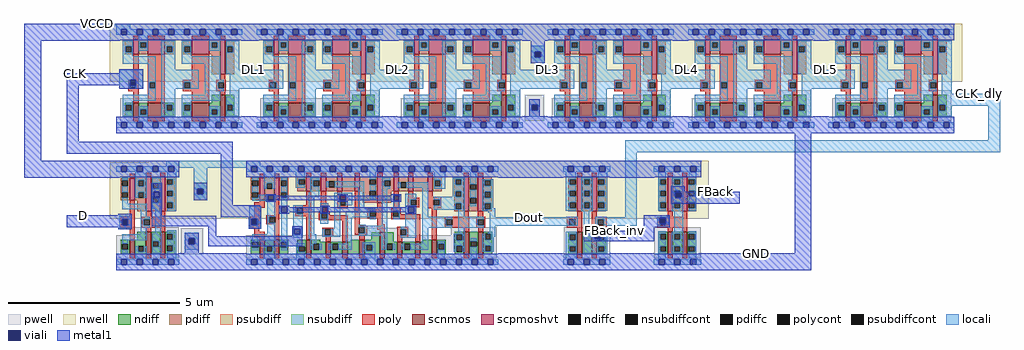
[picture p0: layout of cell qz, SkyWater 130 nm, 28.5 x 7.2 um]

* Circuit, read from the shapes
.subckt qz CLK CLK_dly D DL1 DL2 DL3 DL4 DL5 Dout FBack FBack_inv GND VCCD
XM1 GND D n1 GND sky130_fd_pr__nfet_01v8 w=0.42 l=0.15
XM2 GND CLK n2 GND sky130_fd_pr__nfet_01v8 w=0.42 l=0.15
XM3 sky130_fd_sc_hd__dfxtp_1_0/D n1 GND GND sky130_fd_pr__nfet_01v8 w=0.65 l=0.15 m=2
XM4 n3 n2 GND GND sky130_fd_pr__nfet_01v8 w=0.42 l=0.5
XM5 GND n3 n4 GND sky130_fd_pr__nfet_01v8 w=0.42 l=0.5
XM6 DL1 n4 GND GND sky130_fd_pr__nfet_01v8 w=0.65 l=0.15
XM7 GND CLK n5 GND sky130_fd_pr__nfet_01v8 w=0.42 l=0.15
XM8 GND DL1 n6 GND sky130_fd_pr__nfet_01v8 w=0.42 l=0.15
XM9 n7 n5 GND GND sky130_fd_pr__nfet_01v8 w=0.42 l=0.15
XM10 n8 n6 GND GND sky130_fd_pr__nfet_01v8 w=0.42 l=0.5
XM11 n9 sky130_fd_sc_hd__dfxtp_1_0/D GND GND sky130_fd_pr__nfet_01v8 w=0.42 l=0.15
XM12 n10 n5 n9 GND sky130_fd_pr__nfet_01v8 w=0.36 l=0.15
XM13 GND n8 n11 GND sky130_fd_pr__nfet_01v8 w=0.42 l=0.5
XM14 n12 n7 n10 GND sky130_fd_pr__nfet_01v8 w=0.36 l=0.15
XM15 GND n13 n12 GND sky130_fd_pr__nfet_01v8 w=0.42 l=0.15
XM16 DL2 n11 GND GND sky130_fd_pr__nfet_01v8 w=0.65 l=0.15
XM17 n13 n10 GND GND sky130_fd_pr__nfet_01v8 w=0.64 l=0.15
XM18 n14 n7 n13 GND sky130_fd_pr__nfet_01v8 w=0.36 l=0.15
XM19 GND DL2 n15 GND sky130_fd_pr__nfet_01v8 w=0.42 l=0.15
XM20 n16 n5 n14 GND sky130_fd_pr__nfet_01v8 w=0.36 l=0.15
XM21 n17 n15 GND GND sky130_fd_pr__nfet_01v8 w=0.42 l=0.5
XM22 GND n18 n16 GND sky130_fd_pr__nfet_01v8 w=0.42 l=0.15
XM23 GND n14 n18 GND sky130_fd_pr__nfet_01v8 w=0.65 l=0.15
XM24 GND n17 n19 GND sky130_fd_pr__nfet_01v8 w=0.42 l=0.5
XM25 Dout n18 GND GND sky130_fd_pr__nfet_01v8 w=0.65 l=0.15
XM26 DL3 n19 GND GND sky130_fd_pr__nfet_01v8 w=0.65 l=0.15
XM27 GND DL3 n20 GND sky130_fd_pr__nfet_01v8 w=0.42 l=0.15
XM28 n21 Dout GND GND sky130_fd_pr__nfet_01v8 w=0.65 l=0.15
XM29 n22 n20 GND GND sky130_fd_pr__nfet_01v8 w=0.42 l=0.5
XM30 FBack_inv CLK_dly n21 GND sky130_fd_pr__nfet_01v8 w=0.65 l=0.15
XM31 GND n22 n23 GND sky130_fd_pr__nfet_01v8 w=0.42 l=0.5
XM32 DL4 n23 GND GND sky130_fd_pr__nfet_01v8 w=0.65 l=0.15
XM33 FBack FBack_inv GND GND sky130_fd_pr__nfet_01v8 w=0.65 l=0.15 m=2
XM34 GND DL4 n24 GND sky130_fd_pr__nfet_01v8 w=0.42 l=0.15
XM35 n25 n24 GND GND sky130_fd_pr__nfet_01v8 w=0.42 l=0.5
XM36 GND n25 n26 GND sky130_fd_pr__nfet_01v8 w=0.42 l=0.5
XM37 DL5 n26 GND GND sky130_fd_pr__nfet_01v8 w=0.65 l=0.15
XM38 GND DL5 n27 GND sky130_fd_pr__nfet_01v8 w=0.42 l=0.15
XM39 n28 n27 GND GND sky130_fd_pr__nfet_01v8 w=0.42 l=0.5
XM40 GND n28 n29 GND sky130_fd_pr__nfet_01v8 w=0.42 l=0.5
XM41 CLK_dly n29 GND GND sky130_fd_pr__nfet_01v8 w=0.65 l=0.15
XM42 VCCD D n1 VCCD sky130_fd_pr__pfet_01v8_hvt w=0.64 l=0.15
XM43 VCCD CLK n2 VCCD sky130_fd_pr__pfet_01v8_hvt w=0.42 l=0.15
XM44 sky130_fd_sc_hd__dfxtp_1_0/D n1 VCCD VCCD sky130_fd_pr__pfet_01v8_hvt w=1 l=0.15 m=2
XM45 n3 n2 VCCD VCCD sky130_fd_pr__pfet_01v8_hvt w=0.42 l=0.5
XM46 VCCD n3 n4 VCCD sky130_fd_pr__pfet_01v8_hvt w=0.42 l=0.5
XM47 DL1 n4 VCCD VCCD sky130_fd_pr__pfet_01v8_hvt w=1 l=0.15
XM48 VCCD CLK n5 VCCD sky130_fd_pr__pfet_01v8_hvt w=0.64 l=0.15
XM49 VCCD DL1 n6 VCCD sky130_fd_pr__pfet_01v8_hvt w=0.42 l=0.15
XM50 n7 n5 VCCD VCCD sky130_fd_pr__pfet_01v8_hvt w=0.64 l=0.15
XM51 n8 n6 VCCD VCCD sky130_fd_pr__pfet_01v8_hvt w=0.42 l=0.5
XM52 n9 sky130_fd_sc_hd__dfxtp_1_0/D VCCD VCCD sky130_fd_pr__pfet_01v8_hvt w=0.42 l=0.15
XM53 n10 n7 n9 VCCD sky130_fd_pr__pfet_01v8_hvt w=0.42 l=0.15
XM54 VCCD n8 n11 VCCD sky130_fd_pr__pfet_01v8_hvt w=0.42 l=0.5
XM55 n30 n5 n10 VCCD sky130_fd_pr__pfet_01v8_hvt w=0.42 l=0.15
XM56 VCCD n13 n30 VCCD sky130_fd_pr__pfet_01v8_hvt w=0.42 l=0.15
XM57 DL2 n11 VCCD VCCD sky130_fd_pr__pfet_01v8_hvt w=1 l=0.15
XM58 n13 n10 VCCD VCCD sky130_fd_pr__pfet_01v8_hvt w=0.75 l=0.15
XM59 n14 n5 n13 VCCD sky130_fd_pr__pfet_01v8_hvt w=0.42 l=0.15
XM60 n31 n7 n14 VCCD sky130_fd_pr__pfet_01v8_hvt w=0.42 l=0.15
XM61 VCCD DL2 n15 VCCD sky130_fd_pr__pfet_01v8_hvt w=0.42 l=0.15
XM62 VCCD n18 n31 VCCD sky130_fd_pr__pfet_01v8_hvt w=0.42 l=0.15
XM63 n17 n15 VCCD VCCD sky130_fd_pr__pfet_01v8_hvt w=0.42 l=0.5
XM64 VCCD n14 n18 VCCD sky130_fd_pr__pfet_01v8_hvt w=1 l=0.15
XM65 VCCD n17 n19 VCCD sky130_fd_pr__pfet_01v8_hvt w=0.42 l=0.5
XM66 Dout n18 VCCD VCCD sky130_fd_pr__pfet_01v8_hvt w=1 l=0.15
XM67 DL3 n19 VCCD VCCD sky130_fd_pr__pfet_01v8_hvt w=1 l=0.15
XM68 VCCD DL3 n20 VCCD sky130_fd_pr__pfet_01v8_hvt w=0.42 l=0.15
XM69 FBack_inv Dout VCCD VCCD sky130_fd_pr__pfet_01v8_hvt w=1 l=0.15
XM70 n22 n20 VCCD VCCD sky130_fd_pr__pfet_01v8_hvt w=0.42 l=0.5
XM71 VCCD CLK_dly FBack_inv VCCD sky130_fd_pr__pfet_01v8_hvt w=1 l=0.15
XM72 VCCD n22 n23 VCCD sky130_fd_pr__pfet_01v8_hvt w=0.42 l=0.5
XM73 DL4 n23 VCCD VCCD sky130_fd_pr__pfet_01v8_hvt w=1 l=0.15
XM74 FBack FBack_inv VCCD VCCD sky130_fd_pr__pfet_01v8_hvt w=1 l=0.15 m=2
XM75 VCCD DL4 n24 VCCD sky130_fd_pr__pfet_01v8_hvt w=0.42 l=0.15
XM76 n25 n24 VCCD VCCD sky130_fd_pr__pfet_01v8_hvt w=0.42 l=0.5
XM77 VCCD n25 n26 VCCD sky130_fd_pr__pfet_01v8_hvt w=0.42 l=0.5
XM78 DL5 n26 VCCD VCCD sky130_fd_pr__pfet_01v8_hvt w=1 l=0.15
XM79 VCCD DL5 n27 VCCD sky130_fd_pr__pfet_01v8_hvt w=0.42 l=0.15
XM80 n28 n27 VCCD VCCD sky130_fd_pr__pfet_01v8_hvt w=0.42 l=0.5
XM81 VCCD n28 n29 VCCD sky130_fd_pr__pfet_01v8_hvt w=0.42 l=0.5
XM82 CLK_dly n29 VCCD VCCD sky130_fd_pr__pfet_01v8_hvt w=1 l=0.15
.ends

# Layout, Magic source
magic
tech sky130A
magscale 1 2
<< nwell >>
rect 730 650 5670 730
rect 690 390 5670 650
rect 920 -120 4190 -70
rect 690 -410 4190 -120
<< pwell >>
rect 3114 162 3228 314
rect 1104 -616 1236 -464
<< psubdiff >>
rect 3140 258 3202 288
rect 3140 224 3156 258
rect 3190 224 3202 258
rect 3140 188 3202 224
rect 1130 -523 1210 -490
rect 1130 -557 1153 -523
rect 1187 -557 1210 -523
rect 1130 -590 1210 -557
<< nsubdiff >>
rect 3150 567 3230 600
rect 3150 533 3173 567
rect 3207 533 3230 567
rect 3150 500 3230 533
rect 1180 -233 1260 -200
rect 1180 -267 1203 -233
rect 1237 -267 1260 -233
rect 1180 -300 1260 -267
<< psubdiffcont >>
rect 3156 224 3190 258
rect 1153 -557 1187 -523
<< nsubdiffcont >>
rect 3173 533 3207 567
rect 1203 -267 1237 -233
<< locali >>
rect 730 680 810 730
rect 3150 567 3230 600
rect 3150 533 3173 567
rect 3207 533 3230 567
rect 3150 500 3230 533
rect 1420 350 1650 460
rect 2260 350 2450 460
rect 3080 350 3290 460
rect 3960 350 4150 460
rect 4770 350 4920 460
rect 3140 258 3202 288
rect 3140 224 3156 258
rect 3190 224 3202 258
rect 5590 250 5890 320
rect 3140 188 3202 224
rect 5820 50 5890 250
rect 3700 -20 5890 50
rect 1020 -110 1570 -70
rect 1180 -233 1260 -110
rect 1180 -267 1203 -233
rect 1237 -267 1260 -233
rect 1180 -300 1260 -267
rect 3700 -400 3770 -20
rect 3990 -253 4030 -250
rect 3990 -287 3993 -253
rect 4027 -287 4030 -253
rect 3990 -290 4030 -287
rect 760 -413 800 -410
rect 760 -447 763 -413
rect 797 -447 800 -413
rect 760 -450 800 -447
rect 2930 -450 3420 -400
rect 3590 -450 3770 -400
rect 3900 -403 3940 -400
rect 3900 -437 3903 -403
rect 3937 -437 3940 -403
rect 3900 -440 3940 -437
rect 1130 -523 1210 -490
rect 3520 -493 3560 -490
rect 1130 -557 1153 -523
rect 1187 -557 1210 -523
rect 3520 -527 3523 -493
rect 3557 -527 3560 -493
rect 3520 -530 3560 -527
rect 1130 -590 1210 -557
<< viali >>
rect 3173 533 3207 567
rect 810 368 844 402
rect 3156 224 3190 258
rect 948 -286 982 -252
rect 1203 -267 1237 -233
rect 3993 -287 4027 -253
rect 763 -447 797 -413
rect 1516 -444 1550 -410
rect 3903 -437 3937 -403
rect 1768 -500 1802 -466
rect 1153 -557 1187 -523
rect 3523 -527 3557 -493
<< metal1 >>
rect 190 630 750 730
rect 1460 630 1560 730
rect 2280 630 2380 730
rect 3100 630 3250 730
rect 3980 630 4070 730
rect 4800 630 4890 730
rect 190 -70 290 630
rect 3150 567 3230 630
rect 3150 533 3173 567
rect 3207 533 3230 567
rect 3150 500 3230 533
rect 746 440 886 464
rect 440 402 886 440
rect 440 370 810 402
rect 440 40 510 370
rect 746 368 810 370
rect 844 368 886 402
rect 746 350 886 368
rect 3140 258 3202 288
rect 3140 224 3156 258
rect 3190 224 3202 258
rect 3140 190 3202 224
rect 1460 90 1550 190
rect 2280 90 2370 190
rect 3100 90 3250 190
rect 3980 90 4070 190
rect 440 -30 1410 40
rect 190 -170 750 -70
rect 934 -252 994 -202
rect 934 -286 948 -252
rect 982 -286 994 -252
rect 934 -372 994 -286
rect 1180 -233 1260 -200
rect 1180 -267 1203 -233
rect 1237 -267 1260 -233
rect 1180 -300 1260 -267
rect 740 -390 820 -380
rect 440 -413 820 -390
rect 440 -447 763 -413
rect 797 -447 820 -413
rect 440 -460 820 -447
rect 936 -392 994 -372
rect 1340 -330 1410 -30
rect 2960 -170 3340 -70
rect 3610 -170 3870 -70
rect 3970 -250 4050 -220
rect 3970 -253 4370 -250
rect 3970 -287 3993 -253
rect 4027 -287 4370 -253
rect 3970 -320 4370 -287
rect 1340 -338 1570 -330
rect 936 -452 1312 -392
rect 1340 -400 1572 -338
rect 740 -470 820 -460
rect 1130 -523 1210 -490
rect 1130 -557 1153 -523
rect 1187 -557 1210 -523
rect 1130 -610 1210 -557
rect 1266 -510 1312 -452
rect 1502 -410 1572 -400
rect 1502 -444 1516 -410
rect 1550 -444 1572 -410
rect 1502 -468 1572 -444
rect 3810 -403 3960 -390
rect 3810 -437 3903 -403
rect 3937 -437 3960 -403
rect 1758 -466 1814 -452
rect 1758 -500 1768 -466
rect 1802 -500 1814 -466
rect 3810 -460 3960 -437
rect 3810 -480 3870 -460
rect 1758 -510 1814 -500
rect 1266 -570 1814 -510
rect 3460 -493 3870 -480
rect 3460 -527 3523 -493
rect 3557 -527 3870 -493
rect 3460 -540 3870 -527
rect 4692 -610 4787 147
rect 4800 90 4890 190
rect 1090 -710 1490 -610
rect 2960 -710 3340 -610
rect 3610 -710 3870 -610
rect 4130 -615 4787 -610
rect 4093 -710 4787 -615
use sky130_fd_sc_hd__buf_2  sky130_fd_sc_hd__buf_2_0
transform 1 0 728 0 1 -662
box -38 -48 406 592
use sky130_fd_sc_hd__dfxtp_1  sky130_fd_sc_hd__dfxtp_1_0
transform 1 0 1488 0 1 -662
box -38 -48 1510 592
use sky130_fd_sc_hd__dlygate4sd3_1  sky130_fd_sc_hd__dlygate4sd3_1_0
transform 1 0 728 0 1 138
box -38 -48 774 592
use sky130_fd_sc_hd__dlygate4sd3_1  sky130_fd_sc_hd__dlygate4sd3_1_1
transform 1 0 1548 0 1 138
box -38 -48 774 592
use sky130_fd_sc_hd__dlygate4sd3_1  sky130_fd_sc_hd__dlygate4sd3_1_2
transform 1 0 2368 0 1 138
box -38 -48 774 592
use sky130_fd_sc_hd__dlygate4sd3_1  sky130_fd_sc_hd__dlygate4sd3_1_3
transform 1 0 3248 0 1 138
box -38 -48 774 592
use sky130_fd_sc_hd__dlygate4sd3_1  sky130_fd_sc_hd__dlygate4sd3_1_4
transform 1 0 4068 0 1 138
box -38 -48 774 592
use sky130_fd_sc_hd__dlygate4sd3_1  sky130_fd_sc_hd__dlygate4sd3_1_5
transform 1 0 4888 0 1 138
box -38 -48 774 592
use sky130_fd_sc_hd__inv_2  sky130_fd_sc_hd__inv_2_0
transform 1 0 3868 0 1 -662
box -38 -48 314 592
use sky130_fd_sc_hd__nand2_1  sky130_fd_sc_hd__nand2_1_0
transform 1 0 3338 0 1 -662
box -38 -48 314 592
<< labels >>
rlabel locali s 5770 320 5770 320 4 CLK_dly
rlabel metal1 s 3640 -480 3640 -480 4 FBack_inv
rlabel locali s 1530 460 1530 460 4 DL1
rlabel locali s 2370 460 2370 460 4 DL2
rlabel locali s 3250 460 3250 460 4 DL3
rlabel locali s 4060 460 4060 460 4 DL4
rlabel locali s 4870 460 4870 460 4 DL5
rlabel metal1 s 490 440 490 440 4 CLK
rlabel locali s 3140 -400 3140 -400 4 Dout
rlabel metal1 s 4230 -250 4230 -250 4 FBack
rlabel metal1 s 540 -390 540 -390 4 D
rlabel metal1 s 4470 -610 4470 -610 4 GND
rlabel metal1 s 620 730 620 730 4 VCCD
<< end >>

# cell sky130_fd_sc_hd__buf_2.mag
magic
tech sky130A
magscale 1 2
<< nwell >>
rect -38 261 406 582
<< pwell >>
rect 98 157 367 203
rect 1 21 367 157
rect 29 -17 63 21
<< scnmos >>
rect 79 47 109 131
rect 174 47 204 177
rect 258 47 288 177
<< scpmoshvt >>
rect 79 361 109 489
rect 174 297 204 497
rect 258 297 288 497
<< ndiff >>
rect 124 131 174 177
rect 27 106 79 131
rect 27 72 35 106
rect 69 72 79 106
rect 27 47 79 72
rect 109 93 174 131
rect 109 59 128 93
rect 162 59 174 93
rect 109 47 174 59
rect 204 123 258 177
rect 204 89 214 123
rect 248 89 258 123
rect 204 47 258 89
rect 288 165 341 177
rect 288 131 298 165
rect 332 131 341 165
rect 288 97 341 131
rect 288 63 298 97
rect 332 63 341 97
rect 288 47 341 63
<< pdiff >>
rect 124 489 174 497
rect 27 477 79 489
rect 27 443 35 477
rect 69 443 79 477
rect 27 409 79 443
rect 27 375 35 409
rect 69 375 79 409
rect 27 361 79 375
rect 109 477 174 489
rect 109 443 128 477
rect 162 443 174 477
rect 109 409 174 443
rect 109 375 128 409
rect 162 375 174 409
rect 109 361 174 375
rect 124 297 174 361
rect 204 461 258 497
rect 204 427 214 461
rect 248 427 258 461
rect 204 380 258 427
rect 204 346 214 380
rect 248 346 258 380
rect 204 297 258 346
rect 288 485 341 497
rect 288 451 298 485
rect 332 451 341 485
rect 288 417 341 451
rect 288 383 298 417
rect 332 383 341 417
rect 288 349 341 383
rect 288 315 298 349
rect 332 315 341 349
rect 288 297 341 315
<< ndiffc >>
rect 35 72 69 106
rect 128 59 162 93
rect 214 89 248 123
rect 298 131 332 165
rect 298 63 332 97
<< pdiffc >>
rect 35 443 69 477
rect 35 375 69 409
rect 128 443 162 477
rect 128 375 162 409
rect 214 427 248 461
rect 214 346 248 380
rect 298 451 332 485
rect 298 383 332 417
rect 298 315 332 349
<< poly >>
rect 79 489 109 515
rect 174 497 204 523
rect 258 497 288 523
rect 79 265 109 361
rect 174 265 204 297
rect 258 265 288 297
rect 27 249 109 265
rect 27 215 37 249
rect 71 215 109 249
rect 27 199 109 215
rect 151 249 288 265
rect 151 215 161 249
rect 195 215 288 249
rect 151 199 288 215
rect 79 131 109 199
rect 174 177 204 199
rect 258 177 288 199
rect 79 21 109 47
rect 174 21 204 47
rect 258 21 288 47
<< polycont >>
rect 37 215 71 249
rect 161 215 195 249
<< locali >>
rect 0 527 29 561
rect 63 527 121 561
rect 155 527 213 561
rect 247 527 305 561
rect 339 527 368 561
rect 35 477 69 493
rect 35 409 69 443
rect 112 477 178 527
rect 112 443 128 477
rect 162 443 178 477
rect 112 409 178 443
rect 112 375 128 409
rect 162 375 178 409
rect 212 461 263 493
rect 212 427 214 461
rect 248 427 263 461
rect 212 380 263 427
rect 35 341 69 375
rect 212 346 214 380
rect 248 346 263 380
rect 35 307 178 341
rect 212 312 263 346
rect 17 249 88 271
rect 17 215 37 249
rect 71 215 88 249
rect 17 197 88 215
rect 144 265 178 307
rect 144 249 195 265
rect 144 215 161 249
rect 144 199 195 215
rect 144 161 178 199
rect 229 166 263 312
rect 298 485 350 527
rect 332 451 350 485
rect 298 417 350 451
rect 332 383 350 417
rect 298 349 350 383
rect 332 315 350 349
rect 298 297 350 315
rect 35 127 178 161
rect 35 106 69 127
rect 212 123 263 166
rect 35 51 69 72
rect 112 59 128 93
rect 162 59 178 93
rect 112 17 178 59
rect 212 89 214 123
rect 248 89 263 123
rect 212 51 263 89
rect 298 165 350 185
rect 332 131 350 165
rect 298 97 350 131
rect 332 63 350 97
rect 298 17 350 63
rect 0 -17 29 17
rect 63 -17 121 17
rect 155 -17 213 17
rect 247 -17 305 17
rect 339 -17 368 17
<< viali >>
rect 29 527 63 561
rect 121 527 155 561
rect 213 527 247 561
rect 305 527 339 561
rect 29 -17 63 17
rect 121 -17 155 17
rect 213 -17 247 17
rect 305 -17 339 17
<< metal1 >>
rect 0 561 368 592
rect 0 527 29 561
rect 63 527 121 561
rect 155 527 213 561
rect 247 527 305 561
rect 339 527 368 561
rect 0 496 368 527
rect 0 17 368 48
rect 0 -17 29 17
rect 63 -17 121 17
rect 155 -17 213 17
rect 247 -17 305 17
rect 339 -17 368 17
rect 0 -48 368 -17
<< labels >>
flabel metal1 s 29 527 63 561 0 FreeSans 200 0 0 0 VPWR
port 2 nsew
flabel metal1 s 29 -17 63 17 0 FreeSans 200 0 0 0 VGND
port 3 nsew
flabel locali s 29 527 63 561 0 FreeSans 200 0 0 0 VPWR
port 2 nsew
flabel locali s 29 -17 63 17 0 FreeSans 200 0 0 0 VGND
port 3 nsew
flabel locali s 212 85 246 119 0 FreeSans 200 0 0 0 X
port 4 nsew
flabel locali s 212 357 246 391 0 FreeSans 200 0 0 0 X
port 4 nsew
flabel locali s 212 425 246 459 0 FreeSans 200 0 0 0 X
port 4 nsew
flabel locali s 29 221 63 255 0 FreeSans 200 0 0 0 A
port 5 nsew
flabel nwell s 29 527 63 561 0 FreeSans 200 0 0 0 VPB
port 6 nsew
flabel pwell s 29 -17 63 17 0 FreeSans 200 0 0 0 VNB
port 7 nsew
rlabel comment s 0 0 0 0 4 buf_2
<< properties >>
string FIXED_BBOX 0 0 368 544
string path 0.000 2.720 1.840 2.720 
<< end >>

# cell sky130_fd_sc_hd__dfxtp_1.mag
magic
tech sky130A
magscale 1 2
<< nwell >>
rect -38 261 1510 582
<< pwell >>
rect 704 157 886 201
rect 1193 157 1463 203
rect 1 21 1463 157
rect 29 -17 63 21
<< scnmos >>
rect 79 47 109 131
rect 163 47 193 131
rect 351 47 381 131
rect 463 47 493 119
rect 562 47 592 119
rect 661 47 691 131
rect 780 47 810 175
rect 881 47 911 119
rect 987 47 1017 119
rect 1082 47 1112 131
rect 1271 47 1301 177
rect 1355 47 1385 177
<< scpmoshvt >>
rect 79 363 109 491
rect 163 363 193 491
rect 351 413 381 497
rect 436 413 466 497
rect 531 413 561 497
rect 634 413 664 497
rect 766 347 796 497
rect 861 413 891 497
rect 945 413 975 497
rect 1059 413 1089 497
rect 1269 297 1299 497
rect 1353 297 1383 497
<< ndiff >>
rect 27 119 79 131
rect 27 85 35 119
rect 69 85 79 119
rect 27 47 79 85
rect 109 93 163 131
rect 109 59 119 93
rect 153 59 163 93
rect 109 47 163 59
rect 193 119 245 131
rect 193 85 203 119
rect 237 85 245 119
rect 193 47 245 85
rect 299 93 351 131
rect 299 59 307 93
rect 341 59 351 93
rect 299 47 351 59
rect 381 119 431 131
rect 730 131 780 175
rect 611 119 661 131
rect 381 107 463 119
rect 381 73 392 107
rect 426 73 463 107
rect 381 47 463 73
rect 493 107 562 119
rect 493 73 503 107
rect 537 73 562 107
rect 493 47 562 73
rect 592 47 661 119
rect 691 101 780 131
rect 691 67 702 101
rect 736 67 780 101
rect 691 47 780 67
rect 810 119 860 175
rect 1219 162 1271 177
rect 1032 119 1082 131
rect 810 107 881 119
rect 810 73 821 107
rect 855 73 881 107
rect 810 47 881 73
rect 911 107 987 119
rect 911 73 924 107
rect 958 73 987 107
rect 911 47 987 73
rect 1017 47 1082 119
rect 1112 107 1164 131
rect 1112 73 1122 107
rect 1156 73 1164 107
rect 1112 47 1164 73
rect 1219 128 1227 162
rect 1261 128 1271 162
rect 1219 94 1271 128
rect 1219 60 1227 94
rect 1261 60 1271 94
rect 1219 47 1271 60
rect 1301 123 1355 177
rect 1301 89 1311 123
rect 1345 89 1355 123
rect 1301 47 1355 89
rect 1385 164 1437 177
rect 1385 130 1395 164
rect 1429 130 1437 164
rect 1385 96 1437 130
rect 1385 62 1395 96
rect 1429 62 1437 96
rect 1385 47 1437 62
<< pdiff >>
rect 27 477 79 491
rect 27 443 35 477
rect 69 443 79 477
rect 27 409 79 443
rect 27 375 35 409
rect 69 375 79 409
rect 27 363 79 375
rect 109 461 163 491
rect 109 427 119 461
rect 153 427 163 461
rect 109 363 163 427
rect 193 477 245 491
rect 193 443 203 477
rect 237 443 245 477
rect 193 409 245 443
rect 299 485 351 497
rect 299 451 307 485
rect 341 451 351 485
rect 299 413 351 451
rect 381 477 436 497
rect 381 443 391 477
rect 425 443 436 477
rect 381 413 436 443
rect 466 472 531 497
rect 466 438 483 472
rect 517 438 531 472
rect 466 413 531 438
rect 561 413 634 497
rect 664 485 766 497
rect 664 451 722 485
rect 756 451 766 485
rect 664 417 766 451
rect 664 413 722 417
rect 193 375 203 409
rect 237 375 245 409
rect 193 363 245 375
rect 679 383 722 413
rect 756 383 766 417
rect 679 347 766 383
rect 796 477 861 497
rect 796 443 806 477
rect 840 443 861 477
rect 796 413 861 443
rect 891 467 945 497
rect 891 433 901 467
rect 935 433 945 467
rect 891 413 945 433
rect 975 413 1059 497
rect 1089 477 1142 497
rect 1089 443 1100 477
rect 1134 443 1142 477
rect 1089 413 1142 443
rect 1215 485 1269 497
rect 1215 451 1223 485
rect 1257 451 1269 485
rect 1215 414 1269 451
rect 796 347 846 413
rect 1215 380 1223 414
rect 1257 380 1269 414
rect 1215 343 1269 380
rect 1215 309 1223 343
rect 1257 309 1269 343
rect 1215 297 1269 309
rect 1299 455 1353 497
rect 1299 421 1309 455
rect 1343 421 1353 455
rect 1299 375 1353 421
rect 1299 341 1309 375
rect 1343 341 1353 375
rect 1299 297 1353 341
rect 1383 479 1435 497
rect 1383 445 1393 479
rect 1427 445 1435 479
rect 1383 411 1435 445
rect 1383 377 1393 411
rect 1427 377 1435 411
rect 1383 343 1435 377
rect 1383 309 1393 343
rect 1427 309 1435 343
rect 1383 297 1435 309
<< ndiffc >>
rect 35 85 69 119
rect 119 59 153 93
rect 203 85 237 119
rect 307 59 341 93
rect 392 73 426 107
rect 503 73 537 107
rect 702 67 736 101
rect 821 73 855 107
rect 924 73 958 107
rect 1122 73 1156 107
rect 1227 128 1261 162
rect 1227 60 1261 94
rect 1311 89 1345 123
rect 1395 130 1429 164
rect 1395 62 1429 96
<< pdiffc >>
rect 35 443 69 477
rect 35 375 69 409
rect 119 427 153 461
rect 203 443 237 477
rect 307 451 341 485
rect 391 443 425 477
rect 483 438 517 472
rect 722 451 756 485
rect 203 375 237 409
rect 722 383 756 417
rect 806 443 840 477
rect 901 433 935 467
rect 1100 443 1134 477
rect 1223 451 1257 485
rect 1223 380 1257 414
rect 1223 309 1257 343
rect 1309 421 1343 455
rect 1309 341 1343 375
rect 1393 445 1427 479
rect 1393 377 1427 411
rect 1393 309 1427 343
<< poly >>
rect 79 491 109 517
rect 163 491 193 517
rect 351 497 381 523
rect 436 497 466 523
rect 531 497 561 523
rect 634 497 664 523
rect 766 497 796 523
rect 861 497 891 523
rect 945 497 975 523
rect 1059 497 1089 523
rect 1269 497 1299 523
rect 1353 497 1383 523
rect 79 348 109 363
rect 46 318 109 348
rect 46 265 76 318
rect 163 274 193 363
rect 351 333 381 413
rect 22 249 76 265
rect 22 215 32 249
rect 66 215 76 249
rect 118 264 193 274
rect 286 317 381 333
rect 286 283 296 317
rect 330 283 381 317
rect 436 297 466 413
rect 531 381 561 413
rect 531 365 592 381
rect 531 331 548 365
rect 582 331 592 365
rect 531 315 592 331
rect 286 267 381 283
rect 118 230 134 264
rect 168 230 193 264
rect 118 220 193 230
rect 22 199 76 215
rect 46 176 76 199
rect 46 146 109 176
rect 79 131 109 146
rect 163 131 193 220
rect 351 131 381 267
rect 423 287 489 297
rect 423 253 439 287
rect 473 273 489 287
rect 473 253 592 273
rect 423 243 592 253
rect 443 191 509 201
rect 443 157 459 191
rect 493 157 509 191
rect 443 147 509 157
rect 463 119 493 147
rect 562 119 592 243
rect 634 213 664 413
rect 766 309 796 347
rect 861 315 891 413
rect 945 375 975 413
rect 1059 381 1089 413
rect 944 365 1010 375
rect 944 331 960 365
rect 994 331 1010 365
rect 944 321 1010 331
rect 1059 365 1140 381
rect 1059 331 1096 365
rect 1130 331 1140 365
rect 1059 315 1140 331
rect 706 299 796 309
rect 706 265 722 299
rect 756 265 796 299
rect 706 255 796 265
rect 766 220 796 255
rect 848 299 902 315
rect 848 265 858 299
rect 892 279 902 299
rect 892 265 1017 279
rect 848 249 1017 265
rect 634 203 708 213
rect 634 169 658 203
rect 692 169 708 203
rect 766 190 810 220
rect 780 175 810 190
rect 881 191 945 207
rect 634 159 708 169
rect 661 131 691 159
rect 881 157 901 191
rect 935 157 945 191
rect 881 141 945 157
rect 881 119 911 141
rect 987 119 1017 249
rect 1082 131 1112 315
rect 1269 265 1299 297
rect 1353 265 1383 297
rect 1159 249 1301 265
rect 1159 215 1169 249
rect 1203 215 1301 249
rect 1159 199 1301 215
rect 1343 249 1397 265
rect 1343 215 1353 249
rect 1387 215 1397 249
rect 1343 199 1397 215
rect 1271 177 1301 199
rect 1355 177 1385 199
rect 79 21 109 47
rect 163 21 193 47
rect 351 21 381 47
rect 463 21 493 47
rect 562 21 592 47
rect 661 21 691 47
rect 780 21 810 47
rect 881 21 911 47
rect 987 21 1017 47
rect 1082 21 1112 47
rect 1271 21 1301 47
rect 1355 21 1385 47
<< polycont >>
rect 32 215 66 249
rect 296 283 330 317
rect 548 331 582 365
rect 134 230 168 264
rect 439 253 473 287
rect 459 157 493 191
rect 960 331 994 365
rect 1096 331 1130 365
rect 722 265 756 299
rect 858 265 892 299
rect 658 169 692 203
rect 901 157 935 191
rect 1169 215 1203 249
rect 1353 215 1387 249
<< locali >>
rect 0 527 29 561
rect 63 527 121 561
rect 155 527 213 561
rect 247 527 305 561
rect 339 527 397 561
rect 431 527 489 561
rect 523 527 581 561
rect 615 527 673 561
rect 707 527 765 561
rect 799 527 857 561
rect 891 527 949 561
rect 983 527 1041 561
rect 1075 527 1133 561
rect 1167 527 1225 561
rect 1259 527 1317 561
rect 1351 527 1409 561
rect 1443 527 1472 561
rect 35 477 69 493
rect 35 409 69 443
rect 103 461 169 527
rect 103 427 119 461
rect 153 427 169 461
rect 203 477 240 493
rect 237 443 240 477
rect 203 409 240 443
rect 288 485 341 527
rect 288 451 307 485
rect 288 435 341 451
rect 375 477 425 493
rect 375 443 391 477
rect 722 485 756 527
rect 69 391 168 393
rect 69 375 126 391
rect 35 359 126 375
rect 122 357 126 359
rect 160 357 168 391
rect 18 249 88 325
rect 18 215 32 249
rect 66 215 88 249
rect 18 195 88 215
rect 122 264 168 357
rect 122 230 134 264
rect 122 161 168 230
rect 35 127 168 161
rect 237 375 240 409
rect 375 408 425 443
rect 467 438 483 472
rect 517 438 688 472
rect 203 323 240 375
rect 364 382 425 408
rect 514 391 620 404
rect 203 289 205 323
rect 239 289 240 323
rect 35 119 69 127
rect 203 119 240 289
rect 274 317 330 333
rect 274 283 296 317
rect 274 143 330 283
rect 364 161 398 382
rect 514 357 546 391
rect 580 365 620 391
rect 432 323 480 344
rect 432 289 443 323
rect 477 289 480 323
rect 432 287 480 289
rect 432 253 439 287
rect 473 253 480 287
rect 432 225 480 253
rect 514 191 548 357
rect 582 331 620 365
rect 654 315 688 438
rect 722 417 756 451
rect 722 367 756 383
rect 790 477 840 493
rect 790 443 806 477
rect 1098 477 1161 527
rect 790 427 840 443
rect 885 433 901 467
rect 935 433 1062 467
rect 654 299 756 315
rect 654 297 722 299
rect 364 135 409 161
rect 443 157 459 191
rect 493 157 548 191
rect 443 147 548 157
rect 582 265 722 297
rect 582 263 756 265
rect 35 69 69 85
rect 103 59 119 93
rect 153 59 169 93
rect 237 85 240 119
rect 203 69 240 85
rect 291 93 341 109
rect 103 17 169 59
rect 291 59 307 93
rect 375 107 409 135
rect 582 107 616 263
rect 722 249 756 263
rect 658 213 698 219
rect 790 213 824 427
rect 858 391 896 393
rect 858 357 860 391
rect 894 357 896 391
rect 858 299 896 357
rect 892 265 896 299
rect 858 249 896 265
rect 930 365 994 399
rect 930 331 960 365
rect 930 323 994 331
rect 930 289 947 323
rect 981 289 994 323
rect 658 203 824 213
rect 930 207 994 289
rect 692 169 824 203
rect 658 153 824 169
rect 375 73 392 107
rect 426 73 442 107
rect 481 73 503 107
rect 537 73 616 107
rect 680 101 754 117
rect 291 17 341 59
rect 680 67 702 101
rect 736 67 754 101
rect 790 107 824 153
rect 901 191 994 207
rect 935 157 994 191
rect 901 141 994 157
rect 1028 265 1062 433
rect 1098 443 1100 477
rect 1134 443 1161 477
rect 1098 427 1161 443
rect 1207 485 1275 493
rect 1207 451 1223 485
rect 1257 451 1275 485
rect 1207 414 1275 451
rect 1207 381 1223 414
rect 1096 380 1223 381
rect 1257 380 1275 414
rect 1096 365 1275 380
rect 1130 343 1275 365
rect 1130 331 1223 343
rect 1096 309 1223 331
rect 1257 309 1275 343
rect 1309 455 1343 527
rect 1309 375 1343 421
rect 1309 325 1343 341
rect 1377 479 1443 484
rect 1377 445 1393 479
rect 1427 445 1443 479
rect 1377 411 1443 445
rect 1377 377 1393 411
rect 1427 377 1443 411
rect 1377 343 1443 377
rect 1096 306 1275 309
rect 1237 265 1275 306
rect 1377 309 1393 343
rect 1427 315 1443 343
rect 1427 309 1455 315
rect 1377 299 1455 309
rect 1412 289 1455 299
rect 1028 249 1203 265
rect 1028 215 1169 249
rect 1028 199 1203 215
rect 1237 249 1387 265
rect 1237 215 1353 249
rect 1237 199 1387 215
rect 1028 107 1062 199
rect 1237 165 1277 199
rect 1421 173 1455 289
rect 1410 165 1455 173
rect 1211 162 1277 165
rect 1211 128 1227 162
rect 1261 128 1277 162
rect 1379 164 1455 165
rect 790 73 821 107
rect 855 73 871 107
rect 905 73 924 107
rect 958 73 1062 107
rect 1117 107 1159 123
rect 1117 73 1122 107
rect 1156 73 1159 107
rect 680 17 754 67
rect 1117 17 1159 73
rect 1211 94 1277 128
rect 1211 60 1227 94
rect 1261 60 1277 94
rect 1311 123 1345 139
rect 1311 17 1345 89
rect 1379 130 1395 164
rect 1429 148 1455 164
rect 1429 130 1445 148
rect 1379 96 1445 130
rect 1379 62 1395 96
rect 1429 62 1445 96
rect 1379 61 1445 62
rect 0 -17 29 17
rect 63 -17 121 17
rect 155 -17 213 17
rect 247 -17 305 17
rect 339 -17 397 17
rect 431 -17 489 17
rect 523 -17 581 17
rect 615 -17 673 17
rect 707 -17 765 17
rect 799 -17 857 17
rect 891 -17 949 17
rect 983 -17 1041 17
rect 1075 -17 1133 17
rect 1167 -17 1225 17
rect 1259 -17 1317 17
rect 1351 -17 1409 17
rect 1443 -17 1472 17
<< viali >>
rect 29 527 63 561
rect 121 527 155 561
rect 213 527 247 561
rect 305 527 339 561
rect 397 527 431 561
rect 489 527 523 561
rect 581 527 615 561
rect 673 527 707 561
rect 765 527 799 561
rect 857 527 891 561
rect 949 527 983 561
rect 1041 527 1075 561
rect 1133 527 1167 561
rect 1225 527 1259 561
rect 1317 527 1351 561
rect 1409 527 1443 561
rect 126 357 160 391
rect 205 289 239 323
rect 546 365 580 391
rect 546 357 548 365
rect 548 357 580 365
rect 443 289 477 323
rect 860 357 894 391
rect 947 289 981 323
rect 29 -17 63 17
rect 121 -17 155 17
rect 213 -17 247 17
rect 305 -17 339 17
rect 397 -17 431 17
rect 489 -17 523 17
rect 581 -17 615 17
rect 673 -17 707 17
rect 765 -17 799 17
rect 857 -17 891 17
rect 949 -17 983 17
rect 1041 -17 1075 17
rect 1133 -17 1167 17
rect 1225 -17 1259 17
rect 1317 -17 1351 17
rect 1409 -17 1443 17
<< metal1 >>
rect 0 561 1472 592
rect 0 527 29 561
rect 63 527 121 561
rect 155 527 213 561
rect 247 527 305 561
rect 339 527 397 561
rect 431 527 489 561
rect 523 527 581 561
rect 615 527 673 561
rect 707 527 765 561
rect 799 527 857 561
rect 891 527 949 561
rect 983 527 1041 561
rect 1075 527 1133 561
rect 1167 527 1225 561
rect 1259 527 1317 561
rect 1351 527 1409 561
rect 1443 527 1472 561
rect 0 496 1472 527
rect 114 391 172 397
rect 114 357 126 391
rect 160 388 172 391
rect 534 391 592 397
rect 534 388 546 391
rect 160 360 546 388
rect 160 357 172 360
rect 114 351 172 357
rect 534 357 546 360
rect 580 388 592 391
rect 848 391 906 397
rect 848 388 860 391
rect 580 360 860 388
rect 580 357 592 360
rect 534 351 592 357
rect 848 357 860 360
rect 894 357 906 391
rect 848 351 906 357
rect 193 323 251 329
rect 193 289 205 323
rect 239 320 251 323
rect 431 323 489 329
rect 431 320 443 323
rect 239 292 443 320
rect 239 289 251 292
rect 193 283 251 289
rect 431 289 443 292
rect 477 320 489 323
rect 935 323 993 329
rect 935 320 947 323
rect 477 292 947 320
rect 477 289 489 292
rect 431 283 489 289
rect 935 289 947 292
rect 981 289 993 323
rect 935 283 993 289
rect 0 17 1472 48
rect 0 -17 29 17
rect 63 -17 121 17
rect 155 -17 213 17
rect 247 -17 305 17
rect 339 -17 397 17
rect 431 -17 489 17
rect 523 -17 581 17
rect 615 -17 673 17
rect 707 -17 765 17
rect 799 -17 857 17
rect 891 -17 949 17
rect 983 -17 1041 17
rect 1075 -17 1133 17
rect 1167 -17 1225 17
rect 1259 -17 1317 17
rect 1351 -17 1409 17
rect 1443 -17 1472 17
rect 0 -48 1472 -17
<< labels >>
rlabel comment s 0 0 0 0 4 dfxtp_1
flabel nwell s 29 527 63 561 0 FreeSans 200 0 0 0 VPB
port 5 nsew
flabel nwell s 46 544 46 544 0 FreeSans 200 0 0 0 VPB
flabel pwell s 29 -17 63 17 0 FreeSans 200 0 0 0 VNB
port 6 nsew
flabel pwell s 46 0 46 0 0 FreeSans 200 0 0 0 VNB
flabel locali s 1390 85 1424 119 0 FreeSans 400 0 0 0 Q
port 2 nsew
flabel locali s 29 221 63 255 0 FreeSans 400 0 0 0 CLK
port 3 nsew
flabel locali s 289 221 323 255 0 FreeSans 200 0 0 0 D
port 4 nsew
flabel metal1 s 29 527 63 561 0 FreeSans 200 0 0 0 VPWR
port 7 nsew
flabel metal1 s 29 -17 63 17 0 FreeSans 200 0 0 0 VGND
port 8 nsew
<< properties >>
string FIXED_BBOX 0 0 1472 544
<< end >>

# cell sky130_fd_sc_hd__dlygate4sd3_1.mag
magic
tech sky130A
magscale 1 2
<< nwell >>
rect -38 261 774 582
<< pwell >>
rect 532 157 716 203
rect 23 21 716 157
rect 29 -17 63 21
<< scnmos >>
rect 101 47 131 131
rect 185 47 285 131
rect 443 47 543 131
rect 608 47 638 177
<< scpmoshvt >>
rect 101 413 131 497
rect 185 413 285 497
rect 443 413 543 497
rect 608 297 638 497
<< ndiff >>
rect 558 131 608 177
rect 49 119 101 131
rect 49 85 57 119
rect 91 85 101 119
rect 49 47 101 85
rect 131 93 185 131
rect 131 59 141 93
rect 175 59 185 93
rect 131 47 185 59
rect 285 119 337 131
rect 285 85 295 119
rect 329 85 337 119
rect 285 47 337 85
rect 391 119 443 131
rect 391 85 399 119
rect 433 85 443 119
rect 391 47 443 85
rect 543 93 608 131
rect 543 59 558 93
rect 592 59 608 93
rect 543 47 608 59
rect 638 119 690 177
rect 638 85 648 119
rect 682 85 690 119
rect 638 47 690 85
<< pdiff >>
rect 49 459 101 497
rect 49 425 57 459
rect 91 425 101 459
rect 49 413 101 425
rect 131 485 185 497
rect 131 451 141 485
rect 175 451 185 485
rect 131 413 185 451
rect 285 459 337 497
rect 285 425 295 459
rect 329 425 337 459
rect 285 413 337 425
rect 391 459 443 497
rect 391 425 399 459
rect 433 425 443 459
rect 391 413 443 425
rect 543 485 608 497
rect 543 451 558 485
rect 592 451 608 485
rect 543 413 608 451
rect 558 297 608 413
rect 638 459 690 497
rect 638 425 648 459
rect 682 425 690 459
rect 638 297 690 425
<< ndiffc >>
rect 57 85 91 119
rect 141 59 175 93
rect 295 85 329 119
rect 399 85 433 119
rect 558 59 592 93
rect 648 85 682 119
<< pdiffc >>
rect 57 425 91 459
rect 141 451 175 485
rect 295 425 329 459
rect 399 425 433 459
rect 558 451 592 485
rect 648 425 682 459
<< poly >>
rect 101 497 131 523
rect 185 497 285 523
rect 443 497 543 523
rect 608 497 638 523
rect 101 265 131 413
rect 71 249 131 265
rect 71 215 81 249
rect 115 215 131 249
rect 71 199 131 215
rect 101 131 131 199
rect 185 249 285 413
rect 443 265 543 413
rect 608 265 638 297
rect 185 215 195 249
rect 229 215 285 249
rect 185 131 285 215
rect 389 249 543 265
rect 389 215 399 249
rect 433 215 543 249
rect 389 199 543 215
rect 585 249 639 265
rect 585 215 595 249
rect 629 215 639 249
rect 585 199 639 215
rect 443 131 543 199
rect 608 177 638 199
rect 101 21 131 47
rect 185 21 285 47
rect 443 21 543 47
rect 608 21 638 47
<< polycont >>
rect 81 215 115 249
rect 195 215 229 249
rect 399 215 433 249
rect 595 215 629 249
<< locali >>
rect 0 527 29 561
rect 63 527 121 561
rect 155 527 213 561
rect 247 527 305 561
rect 339 527 397 561
rect 431 527 489 561
rect 523 527 581 561
rect 615 527 673 561
rect 707 527 736 561
rect 40 459 97 493
rect 40 425 57 459
rect 91 425 97 459
rect 131 485 185 527
rect 131 451 141 485
rect 175 451 185 485
rect 131 435 185 451
rect 265 459 345 493
rect 40 401 97 425
rect 265 425 295 459
rect 329 425 345 459
rect 40 357 231 401
rect 17 249 155 323
rect 17 215 81 249
rect 115 215 155 249
rect 17 211 155 215
rect 189 249 231 357
rect 189 215 195 249
rect 229 215 231 249
rect 189 177 231 215
rect 40 143 231 177
rect 265 323 345 425
rect 383 459 439 493
rect 383 425 399 459
rect 433 425 439 459
rect 543 485 608 527
rect 543 451 558 485
rect 592 451 608 485
rect 543 435 608 451
rect 642 459 719 493
rect 383 401 439 425
rect 642 425 648 459
rect 682 425 719 459
rect 383 357 608 401
rect 265 249 484 323
rect 265 215 399 249
rect 433 215 484 249
rect 265 211 484 215
rect 518 265 608 357
rect 642 299 719 425
rect 518 249 629 265
rect 518 215 595 249
rect 40 119 97 143
rect 40 85 57 119
rect 91 85 97 119
rect 265 119 345 211
rect 518 199 629 215
rect 518 177 608 199
rect 40 51 97 85
rect 131 93 185 109
rect 131 59 141 93
rect 175 59 185 93
rect 131 17 185 59
rect 265 85 295 119
rect 329 85 345 119
rect 265 51 345 85
rect 383 143 608 177
rect 663 165 719 299
rect 383 119 439 143
rect 383 85 399 119
rect 433 85 439 119
rect 642 119 719 165
rect 383 51 439 85
rect 543 93 608 109
rect 543 59 558 93
rect 592 59 608 93
rect 543 17 608 59
rect 642 85 648 119
rect 682 85 719 119
rect 642 51 719 85
rect 0 -17 29 17
rect 63 -17 121 17
rect 155 -17 213 17
rect 247 -17 305 17
rect 339 -17 397 17
rect 431 -17 489 17
rect 523 -17 581 17
rect 615 -17 673 17
rect 707 -17 736 17
<< viali >>
rect 29 527 63 561
rect 121 527 155 561
rect 213 527 247 561
rect 305 527 339 561
rect 397 527 431 561
rect 489 527 523 561
rect 581 527 615 561
rect 673 527 707 561
rect 29 -17 63 17
rect 121 -17 155 17
rect 213 -17 247 17
rect 305 -17 339 17
rect 397 -17 431 17
rect 489 -17 523 17
rect 581 -17 615 17
rect 673 -17 707 17
<< metal1 >>
rect 0 561 736 592
rect 0 527 29 561
rect 63 527 121 561
rect 155 527 213 561
rect 247 527 305 561
rect 339 527 397 561
rect 431 527 489 561
rect 523 527 581 561
rect 615 527 673 561
rect 707 527 736 561
rect 0 496 736 527
rect 0 17 736 48
rect 0 -17 29 17
rect 63 -17 121 17
rect 155 -17 213 17
rect 247 -17 305 17
rect 339 -17 397 17
rect 431 -17 489 17
rect 523 -17 581 17
rect 615 -17 673 17
rect 707 -17 736 17
rect 0 -48 736 -17
<< labels >>
flabel locali s 29 221 63 255 0 FreeSans 200 0 0 0 A
port 3 nsew
flabel locali s 677 153 711 187 0 FreeSans 200 0 0 0 X
port 2 nsew
flabel locali s 29 289 63 323 0 FreeSans 200 0 0 0 A
port 3 nsew
flabel locali s 677 85 711 119 0 FreeSans 200 0 0 0 X
port 2 nsew
flabel locali s 121 221 155 255 0 FreeSans 200 0 0 0 A
port 3 nsew
flabel locali s 121 289 155 323 0 FreeSans 200 0 0 0 A
port 3 nsew
flabel locali s 677 425 711 459 0 FreeSans 200 0 0 0 X
port 2 nsew
flabel locali s 677 289 711 323 0 FreeSans 200 0 0 0 X
port 2 nsew
flabel locali s 677 357 711 391 0 FreeSans 200 0 0 0 X
port 2 nsew
flabel locali s 677 221 711 255 0 FreeSans 200 0 0 0 X
port 2 nsew
flabel nwell s 29 527 63 561 0 FreeSans 200 0 0 0 VPB
port 4 nsew
flabel pwell s 29 -17 63 17 0 FreeSans 200 0 0 0 VNB
port 5 nsew
flabel metal1 s 29 -17 63 17 0 FreeSans 200 0 0 0 VGND
port 6 nsew
flabel metal1 s 29 527 63 561 0 FreeSans 200 0 0 0 VPWR
port 7 nsew
rlabel comment s 0 0 0 0 4 dlygate4sd3_1
<< properties >>
string FIXED_BBOX 0 0 736 544
string path 0.000 0.000 3.680 0.000 
<< end >>

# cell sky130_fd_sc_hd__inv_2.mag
magic
tech sky130A
magscale 1 2
<< nwell >>
rect -38 261 314 582
<< pwell >>
rect 3 21 273 203
rect 29 -17 63 21
<< scnmos >>
rect 81 47 111 177
rect 165 47 195 177
<< scpmoshvt >>
rect 81 297 111 497
rect 165 297 195 497
<< ndiff >>
rect 29 165 81 177
rect 29 131 37 165
rect 71 131 81 165
rect 29 93 81 131
rect 29 59 37 93
rect 71 59 81 93
rect 29 47 81 59
rect 111 165 165 177
rect 111 131 121 165
rect 155 131 165 165
rect 111 93 165 131
rect 111 59 121 93
rect 155 59 165 93
rect 111 47 165 59
rect 195 165 247 177
rect 195 131 205 165
rect 239 131 247 165
rect 195 93 247 131
rect 195 59 205 93
rect 239 59 247 93
rect 195 47 247 59
<< pdiff >>
rect 29 485 81 497
rect 29 451 37 485
rect 71 451 81 485
rect 29 417 81 451
rect 29 383 37 417
rect 71 383 81 417
rect 29 349 81 383
rect 29 315 37 349
rect 71 315 81 349
rect 29 297 81 315
rect 111 485 165 497
rect 111 451 121 485
rect 155 451 165 485
rect 111 417 165 451
rect 111 383 121 417
rect 155 383 165 417
rect 111 349 165 383
rect 111 315 121 349
rect 155 315 165 349
rect 111 297 165 315
rect 195 485 247 497
rect 195 451 205 485
rect 239 451 247 485
rect 195 417 247 451
rect 195 383 205 417
rect 239 383 247 417
rect 195 349 247 383
rect 195 315 205 349
rect 239 315 247 349
rect 195 297 247 315
<< ndiffc >>
rect 37 131 71 165
rect 37 59 71 93
rect 121 131 155 165
rect 121 59 155 93
rect 205 131 239 165
rect 205 59 239 93
<< pdiffc >>
rect 37 451 71 485
rect 37 383 71 417
rect 37 315 71 349
rect 121 451 155 485
rect 121 383 155 417
rect 121 315 155 349
rect 205 451 239 485
rect 205 383 239 417
rect 205 315 239 349
<< poly >>
rect 81 497 111 523
rect 165 497 195 523
rect 81 265 111 297
rect 165 265 195 297
rect 21 249 195 265
rect 21 215 37 249
rect 71 215 195 249
rect 21 199 195 215
rect 81 177 111 199
rect 165 177 195 199
rect 81 21 111 47
rect 165 21 195 47
<< polycont >>
rect 37 215 71 249
<< locali >>
rect 0 527 29 561
rect 63 527 121 561
rect 155 527 213 561
rect 247 527 276 561
rect 25 485 71 527
rect 25 451 37 485
rect 25 417 71 451
rect 25 383 37 417
rect 25 349 71 383
rect 25 315 37 349
rect 25 299 71 315
rect 105 485 171 493
rect 105 451 121 485
rect 155 451 171 485
rect 105 417 171 451
rect 105 383 121 417
rect 155 383 171 417
rect 105 349 171 383
rect 105 315 121 349
rect 155 315 171 349
rect 105 297 171 315
rect 205 485 247 527
rect 239 451 247 485
rect 205 417 247 451
rect 239 383 247 417
rect 205 349 247 383
rect 239 315 247 349
rect 205 299 247 315
rect 21 249 87 265
rect 21 215 37 249
rect 71 215 87 249
rect 25 165 71 181
rect 121 177 171 297
rect 25 131 37 165
rect 25 93 71 131
rect 25 59 37 93
rect 25 17 71 59
rect 105 165 171 177
rect 105 131 121 165
rect 155 131 171 165
rect 105 93 171 131
rect 105 59 121 93
rect 155 59 171 93
rect 105 51 171 59
rect 205 165 247 181
rect 239 131 247 165
rect 205 93 247 131
rect 239 59 247 93
rect 205 17 247 59
rect 0 -17 29 17
rect 63 -17 121 17
rect 155 -17 213 17
rect 247 -17 276 17
<< viali >>
rect 29 527 63 561
rect 121 527 155 561
rect 213 527 247 561
rect 29 -17 63 17
rect 121 -17 155 17
rect 213 -17 247 17
<< metal1 >>
rect 0 561 276 592
rect 0 527 29 561
rect 63 527 121 561
rect 155 527 213 561
rect 247 527 276 561
rect 0 496 276 527
rect 0 17 276 48
rect 0 -17 29 17
rect 63 -17 121 17
rect 155 -17 213 17
rect 247 -17 276 17
rect 0 -48 276 -17
<< labels >>
flabel locali s 29 221 63 255 0 FreeSans 340 0 0 0 A
port 7 nsew
flabel locali s 121 153 155 187 0 FreeSans 340 0 0 0 Y
port 6 nsew
flabel locali s 121 289 155 323 0 FreeSans 340 0 0 0 Y
port 6 nsew
flabel locali s 121 221 155 255 0 FreeSans 340 0 0 0 Y
port 6 nsew
flabel nwell s 29 527 63 561 0 FreeSans 200 0 0 0 VPB
port 2 nsew
flabel pwell s 29 -17 63 17 0 FreeSans 200 0 0 0 VNB
port 3 nsew
flabel metal1 s 29 527 63 561 0 FreeSans 200 0 0 0 VPWR
port 4 nsew
flabel metal1 s 29 -17 63 17 0 FreeSans 200 0 0 0 VGND
port 5 nsew
rlabel comment s 0 0 0 0 4 inv_2
<< properties >>
string FIXED_BBOX 0 0 276 544
string path 0.000 0.000 1.380 0.000 
<< end >>

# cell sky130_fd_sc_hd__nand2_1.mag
magic
tech sky130A
magscale 1 2
<< nwell >>
rect -38 261 314 582
<< pwell >>
rect 5 21 275 203
rect 28 -17 62 21
<< scnmos >>
rect 83 47 113 177
rect 167 47 197 177
<< scpmoshvt >>
rect 83 297 113 497
rect 167 297 197 497
<< ndiff >>
rect 31 161 83 177
rect 31 127 39 161
rect 73 127 83 161
rect 31 93 83 127
rect 31 59 39 93
rect 73 59 83 93
rect 31 47 83 59
rect 113 47 167 177
rect 197 161 249 177
rect 197 127 207 161
rect 241 127 249 161
rect 197 93 249 127
rect 197 59 207 93
rect 241 59 249 93
rect 197 47 249 59
<< pdiff >>
rect 31 485 83 497
rect 31 451 39 485
rect 73 451 83 485
rect 31 417 83 451
rect 31 383 39 417
rect 73 383 83 417
rect 31 349 83 383
rect 31 315 39 349
rect 73 315 83 349
rect 31 297 83 315
rect 113 485 167 497
rect 113 451 123 485
rect 157 451 167 485
rect 113 417 167 451
rect 113 383 123 417
rect 157 383 167 417
rect 113 349 167 383
rect 113 315 123 349
rect 157 315 167 349
rect 113 297 167 315
rect 197 485 249 497
rect 197 451 207 485
rect 241 451 249 485
rect 197 417 249 451
rect 197 383 207 417
rect 241 383 249 417
rect 197 349 249 383
rect 197 315 207 349
rect 241 315 249 349
rect 197 297 249 315
<< ndiffc >>
rect 39 127 73 161
rect 39 59 73 93
rect 207 127 241 161
rect 207 59 241 93
<< pdiffc >>
rect 39 451 73 485
rect 39 383 73 417
rect 39 315 73 349
rect 123 451 157 485
rect 123 383 157 417
rect 123 315 157 349
rect 207 451 241 485
rect 207 383 241 417
rect 207 315 241 349
<< poly >>
rect 83 497 113 523
rect 167 497 197 523
rect 83 265 113 297
rect 21 249 113 265
rect 21 215 36 249
rect 70 215 113 249
rect 21 199 113 215
rect 83 177 113 199
rect 167 265 197 297
rect 167 249 255 265
rect 167 215 204 249
rect 238 215 255 249
rect 167 199 255 215
rect 167 177 197 199
rect 83 21 113 47
rect 167 21 197 47
<< polycont >>
rect 36 215 70 249
rect 204 215 238 249
<< locali >>
rect 0 527 29 561
rect 63 527 121 561
rect 155 527 213 561
rect 247 527 276 561
rect 17 485 73 527
rect 17 451 39 485
rect 17 417 73 451
rect 17 383 39 417
rect 17 349 73 383
rect 17 315 39 349
rect 17 299 73 315
rect 107 485 173 493
rect 107 451 123 485
rect 157 451 173 485
rect 107 417 173 451
rect 107 383 123 417
rect 157 383 173 417
rect 107 349 173 383
rect 107 315 123 349
rect 157 315 173 349
rect 107 297 173 315
rect 207 485 259 527
rect 241 451 259 485
rect 207 417 259 451
rect 241 383 259 417
rect 207 349 259 383
rect 241 315 259 349
rect 207 299 259 315
rect 19 249 86 265
rect 19 215 36 249
rect 70 215 86 249
rect 19 211 86 215
rect 120 177 154 297
rect 188 249 255 265
rect 188 215 204 249
rect 238 215 255 249
rect 17 161 79 177
rect 17 127 39 161
rect 73 127 79 161
rect 17 93 79 127
rect 17 59 39 93
rect 73 59 79 93
rect 17 17 79 59
rect 120 161 259 177
rect 120 127 207 161
rect 241 127 259 161
rect 120 93 259 127
rect 120 59 207 93
rect 241 59 259 93
rect 120 51 259 59
rect 0 -17 29 17
rect 63 -17 121 17
rect 155 -17 213 17
rect 247 -17 276 17
<< viali >>
rect 29 527 63 561
rect 121 527 155 561
rect 213 527 247 561
rect 29 -17 63 17
rect 121 -17 155 17
rect 213 -17 247 17
<< metal1 >>
rect 0 561 276 592
rect 0 527 29 561
rect 63 527 121 561
rect 155 527 213 561
rect 247 527 276 561
rect 0 496 276 527
rect 0 17 276 48
rect 0 -17 29 17
rect 63 -17 121 17
rect 155 -17 213 17
rect 247 -17 276 17
rect 0 -48 276 -17
<< labels >>
flabel locali s 120 85 154 119 0 FreeSans 250 0 0 0 Y
port 7 nsew
flabel locali s 120 153 154 187 0 FreeSans 250 0 0 0 Y
port 7 nsew
flabel locali s 120 221 154 255 0 FreeSans 250 0 0 0 Y
port 7 nsew
flabel locali s 28 221 62 255 0 FreeSans 250 0 0 0 B
port 8 nsew
flabel locali s 212 221 246 255 0 FreeSans 250 0 0 0 A
port 6 nsew
flabel nwell s 28 527 62 561 0 FreeSans 200 0 0 0 VPB
port 2 nsew
flabel pwell s 28 -17 62 17 0 FreeSans 200 0 0 0 VNB
port 3 nsew
flabel metal1 s 28 -17 62 17 0 FreeSans 200 0 0 0 VGND
port 4 nsew
flabel metal1 s 28 527 62 561 0 FreeSans 200 0 0 0 VPWR
port 5 nsew
rlabel comment s 0 0 0 0 4 nand2_1
<< properties >>
string FIXED_BBOX 0 0 276 544
string path 0.000 0.000 1.380 0.000 
<< end >>
